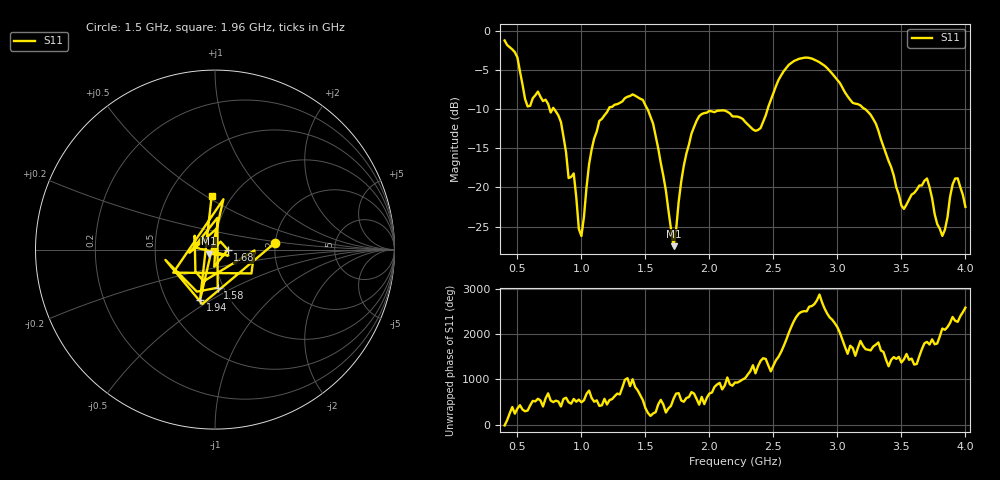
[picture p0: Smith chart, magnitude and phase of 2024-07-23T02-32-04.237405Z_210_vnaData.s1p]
!Created with skrf (http://scikit-rf.org).
# Hz S RI R 50.0
!freq ReS11 ImS11
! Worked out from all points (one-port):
!   181 points, 400 MHz to 4 GHz, reference 50 ohm
!   lowest |S11| = -27.5 dB at 1.72 GHz (marker M1), VSWR 1.09, Z = 46.5 - j2.15 ohm
!   |S11| at or under -10 dB: 786.3 MHz to 1.213 GHz (426.7 MHz wide, 42.7 % of centre); 1.515 GHz to 2.455 GHz (939.8 MHz wide, 47.3 % of centre); 3.214 GHz to end of sweep (the widest 3 of 4)
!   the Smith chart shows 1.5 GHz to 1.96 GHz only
!   S11 on the Smith chart (normalised r, x): 1.5 GHz: 1.98, +0.16; 1.58 GHz: 0.94, -0.42; 1.68 GHz: 1.15, -0.00; 1.94 GHz: 0.73, -0.45; 1.96 GHz: 0.81, +0.53
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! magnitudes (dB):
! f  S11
! 400 MHz  -1.3
! 500 MHz  -3.4
! 580 MHz  -9.7
! 660 MHz  -7.8
! 860 MHz  -13.5
! 900 MHz  -18.8
! 940 MHz  -18.2
! 1 GHz  -26.2
! 1.1 GHz  -13.8
! 1.3 GHz  -9.2
! 1.5 GHz  -9.5
! 1.58 GHz  -13.4
! 1.68 GHz  -23.0
! 1.72 GHz  -27.5
! 1.76 GHz  -21.8
! 1.94 GHz  -10.6
! 1.96 GHz  -10.5
! 2.2 GHz  -11.0
! 2.4 GHz  -12.4
! 2.66 GHz  -3.9
! 3.1 GHz  -8.8
! 3.28 GHz  -11.3
! 3.5 GHz  -22.3
! 3.56 GHz  -21.6
! 3.7 GHz  -18.9
! 3.82 GHz  -26.2
! 3.92 GHz  -18.9
! 4 GHz  -22.5
